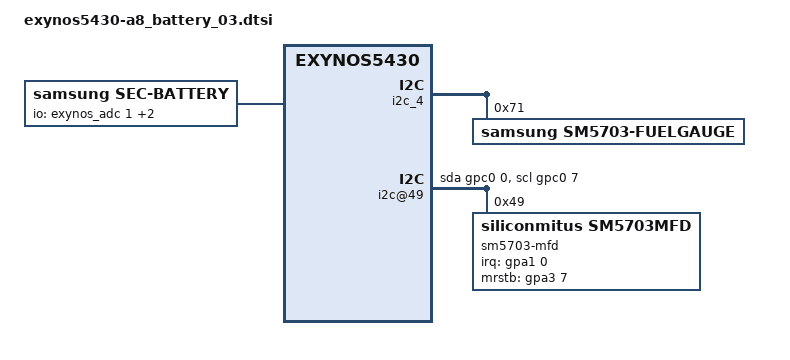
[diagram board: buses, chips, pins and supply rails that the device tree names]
/*
 * SAMSUNG UNIVERSAL5430 board device tree source
 *
 * Copyright (c) 2013 Samsung Electronics Co., Ltd.
 *		http://www.samsung.com
 *
 * This program is free software; you can redistribute it and/or modify
 * it under the terms of the GNU General Public License version 2 as
 * published by the Free Software Foundation.
*/

/ {
	pinctrl@10580000 {
		fuel_irq: fuel-irq {
			samsung,pins = "gpa1-5";
			samsung,pin-function = <0>;
			samsung,pin-pud = <0>;
			samsung,pin-drv = <0>;
		};
	};

	pinctrl@14CC0000 {
		chg_en: chg-en {
			samsung,pins = "gpf1-6";
			samsung,pin-function = <1>;
			samsung,pin-pud = <0>;
			samsung,pin-drv = <0>;
		};
		factory_discharging: factory-discharging {
			samsung,pins = "gpg2-2";
			samsung,pin-function = <1>;
			samsung,pin-pud = <0>;
		};
	};

	i2c_4: i2c@14E80000 {
		status = "okay";
		samsung,i2c-max-bus-freq = <400000>;
		sm5703-fuelgauge@71 {
			compatible = "samsung,sm5703-fuelgauge";
			reg = <0x71>;
			pinctrl-names = "default";
			pinctrl-0 = <&fuel_irq>;
			fuelgauge,fuel_int = <&gpa1 5 0>;
			fuelgauge,fuel_alert_soc = <2>;
			fuelgauge,capacity_max = <990>;
			fuelgauge,capacity_max_margin = <50>;
			fuelgauge,capacity_min = <0>;
			fuelgauge,capacity_calculation_type = <12>;
			fuelgauge,type_str = "SDI";
		};
	};

	battery_params {
		battery,id = <0>; /* -1 means auto, detected by F/G */
		battery0,battery_type = <4350>; /* 4200 4350 4400 */
		battery0,battery_table0 = <0x1400 0x1B8A 0x1CDE 0x1D73 0x1D87 0x1DDF 0x1E46 0x1E87 0x1ECB 0x1F2D 0x1FAE 0x1FFE 0x206A 0x2100 0x2241 0x2400>;
		battery0,battery_table1 = <0x1400 0x1B8A 0x1CDE 0x1D73 0x1D87 0x1DDF 0x1E46 0x1E87 0x1ECB 0x1F2D 0x1FAE 0x1FFE 0x206A 0x2100 0x2241 0x2400>;
		battery0,battery_table2 = <0x0000 0x0033 0x00C7 0x0164 0x029C 0x0470 0x077D 0x09EE 0x0BC2 0x0D97 0x0ECF 0x1007 0x1140 0x1314 0x165F 0x1671>;
		battery0,temp_std = <25>;
		battery0,temp_offset = <10>;
		battery0,temp_offset_cal = <0x01>;
		battery0,rce_value = <0x0749 0x0580 0x371>;
		battery0,dtcd_value = <0x1>;
		battery0,rs_value = <0x1ae 0x47a 0x3800 0x007a>; /*rs mix_factor max min*/
		battery0,vit_period = <0x3506>;
		battery0,mix_value = <0x0403 0x0004>; /*mix_rate init_blank*/
		battery0,topoff_soc = <0x0 0x5>; /*enable soc*/
		battery0,tem_poff = <3400 100 3320 100>;
		battery0,charge_offset_cal = <(-0x03)>;
		battery0,volt_cal = <0x809e>;
		battery0,curr_cal = <0x7c85>;
		battery0,v_max_table = <0x2241 0x2219 0x21F1 0x21C9 0x2165>;
		battery0,q_max_table = <0x165F 0x15F9 0x1593 0x152D 0x142D>;
	};

	battery {
		status = "okay";

		pinctrl-names = "default";
		pinctrl-0 = <&factory_discharging>;

		battery,factory_discharging = <&gpg2 2 0>;

		compatible = "samsung,sec-battery";
		battery,vendor = "SDI SDI";
		battery,charger_name = "sm5703-charger";
		battery,fuelgauge_name = "sm5703-fuelgauge";
		battery,technology = <2>; /* POWER_SUPPLY_TECHNOLOGY_LION */
		/* .temp_cohot = -1000; */
		/* .temp_cocold = -4325; */

		battery,chip_vendor = "LSI";
		battery,temp_adc_type = <1>; /* SEC_BATTERY_ADC_TYPE_AP */

		battery,polling_time = <10 30 30 30 3600>;

		battery,temp_table_adc = <531 621 642 662 683 700 733 759 787 813 839 857 886 916 944 973
					1006 1037 1066 1103 1135 1168 1202 1238 1275 1309 1346 1545 1761 1987 2215 2396
					2675 2882 2927 2968 3002 3038 3086 3119 3154 3195 3221 3251 3282 3322 3347
					3369 3396 3526>;


		battery,temp_table_data = <700 650 640 630 620 610 600 590 580 570 560 550
					540 530 520 510 500 490 480 470 460 450 440 430
					420 410 400 350 300 250 200 150 100 50 40 30 20 10 0
					(-10) (-20) (-30) (-40) (-50) (-60) (-70) (-80) (-90) (-100) (-150)>;


		battery,input_current_limit = <1750 500 500 1750 500 900 1000 500 500 1000 820 1750 1750 1750 1750 500 1300 300 700 1300 1500 300 80 500 1750 1400 1000 1750 1400 900 820 820 500 1000 820 820>;
		battery,fast_charging_current = <2100 0 500 2100 500 1200 1000 500 0 1200 1000 2100 2100 2100 2100 0 1300 300 700 1300 1500 300 80 0 2100 1200 1000 2100 1400 1200 1000 1000 0 0 1000 1000>;
		battery,full_check_current_1st = <300 0 0 300 300 300 300 300 300 0 300 300 300 300 300 0 0 300 300 300 300 300 300 0 300 300 300 300 0 300 300 300 0 300 300 300>;
		battery,full_check_current_2nd = <150 0 0 150 150 150 150 150 150 0 150 150 150 150 150 0 0 150 150 150 150 150 150 0 150 150 150 150 0 150 150 150 0 150 100 150>;

		battery,inbat_voltage = <1>;
		battery,inbat_voltage_table_adc = <2661 2620 2600 2586 2566 2536 2513 2486 2461 2431
						2403 2373 2360 2334 2301 2273 2245 2224 2200 2167 2137>;
		battery,inbat_voltage_table_data = <438 435 430 425 420 415 410 405 400 395
						390 385 380 375 370 365 360 355 350 345 340>;

		battery,adc_check_count = <5>;

		battery,cable_check_type = <4>; /* SEC_BATTERY_CABLE_CHECK_PSY */
		battery,cable_source_type = <1>; /* SEC_BATTERY_CABLE_SOURCE_EXTERNAL */
		battery,event_waiting_time = <600>;
		battery,polling_type = <1>; /* SEC_BATTERY_MONITOR_ALARM */
		battery,monitor_initial_count = <0>;

		battery,battery_check_type = <0>; /* SEC_BATTERY_CHECK_CHARGER */
		battery,check_count = <0>;
		battery,check_adc_max = <1440>;
		battery,check_adc_min = <0>;

		battery,ovp_uvlo_check_type = <3>; /* SEC_BATTERY_OVP_UVLO_CHGPOLLING */

		battery,thermal_source = <2>; /* SEC_BATTERY_THERMAL_SOURCE_ADC */

		battery,temp_check_type = <2>; /* SEC_BATTERY_TEMP_CHECK_TEMP */
		battery,temp_check_count = <1>;
		battery,temp_highlimit_threshold_event = <800>;
		battery,temp_highlimit_recovery_event = <750>;
		battery,temp_high_threshold_event = <500>;
		battery,temp_high_recovery_event = <450>;
		battery,temp_low_threshold_event = <0>;
		battery,temp_low_recovery_event = <50>;
		battery,temp_highlimit_threshold_normal = <800>;
		battery,temp_highlimit_recovery_normal = <750>;
		battery,temp_high_threshold_normal = <500>;
		battery,temp_high_recovery_normal = <450>;
		battery,temp_low_threshold_normal = <0>;
		battery,temp_low_recovery_normal = <50>;
		battery,temp_highlimit_threshold_lpm = <800>;
		battery,temp_highlimit_recovery_lpm = <750>;
		battery,temp_high_threshold_lpm = <500>;
		battery,temp_high_recovery_lpm = <450>;
		battery,temp_low_threshold_lpm = <0>;
		battery,temp_low_recovery_lpm = <50>;
		battery,full_check_type = <2>; /* SEC_BATTERY_FULLCHARGED_FG_CURRENT  */
		battery,full_check_type_2nd = <2>; /* SEC_BATTERY_FULLCHARGED_FG_CURRENT  */
		battery,full_check_count = <1>;
		battery,chg_gpio_full_check = <0>;
		battery,chg_polarity_full_check = <1>;

		/* SEC_BATTERY_FULL_CONDITION_SOC |
		   SEC_BATTERY_FULL_CONDITION_NOTIMEFULL |
		   SEC_BATTERY_FULL_CONDITION_VCELL */
		battery,full_condition_type = <13>;
		battery,full_condition_soc = <93>;
		battery,full_condition_vcell = <4250>;

		battery,recharge_check_count = <2>;
		battery,recharge_condition_type = <4>; /* SEC_BATTERY_RECHARGE_CONDITION_VCELL */
		battery,recharge_condition_soc = <98>;
		battery,recharge_condition_vcell = <4280>;
		
		battery,expired_time = <13320>;
		battery,recharginig_expired_time = <5400>;
		battery,standard_curr = <1750>;

		battery,charging_total_time = <21600>;
		battery,recharging_total_time = <5400>;
		battery,charging_reset_time = <0>;

		battery,always_enable;


		battery,chg_float_voltage = <4350>;

		battery,swelling_high_temp_block = <410>;
		battery,swelling_high_temp_recov = <390>;

		battery,swelling_low_temp_2step_mode = <1>;
		battery,swelling_low_temp_block_1st = <150>;
		battery,swelling_low_temp_recov_1st = <200>;
		battery,swelling_low_temp_block_2nd = <50>;
		battery,swelling_low_temp_recov_2nd = <100>;

		battery,swelling_low_temp_current = <700>;
		battery,swelling_low_temp_topoff = <150>;
		battery,swelling_high_temp_current = <1000>;
		battery,swelling_high_temp_topoff = <150>;
		battery,swelling_drop_float_voltage = <4150>;
		battery,swelling_high_rechg_voltage = <4000>;
		battery,swelling_low_rechg_voltage = <4000>;

		battery,siop_input_limit_current = <1200>;
		battery,siop_charging_limit_current = <1000>;

		io-channels = <&exynos_adc 1>, <&exynos_adc 7>, <&exynos_adc 3>;
		io-channel-names = "adc-temp", "in-bat-adc", "discharging-check-adc";
		#io-channel-cells = <1>;
		io-channel-ranges;

		/* cycle, chg_float_voltage, recharge_condition_vcell, full_condition_vcell, full_condition_soc */
		battery,age_data = <0 4350 4280 4250 93	/*4.35*/
				200 4330 4260 4230 91	/*4.33*/
				250 4310 4240 4210 89	/*4.31*/
				300 4290 4220 4190 87	/*4.29*/
				1000 4240 4170 4140 83	/*4.24*/
				>;
	};

	i2c@49 {
		compatible = "i2c-gpio";
		gpios = <&gpc0 0 0 &gpc0 7 0>;
		i2c-gpio,delay-us = <2>;
		#address-cells = <1>;
		#size-cells = <0>;
		status = "ok";
		sm5703-mfd@49 {
			compatible = "siliconmitus,sm5703mfd";
			reg = <0x49>;
			pinctrl-names = "default";
			pinctrl-0 = <&chg_en &if_pmic_irq>;
			sm5703,irq-gpio = <&gpa1 0 0>;
			sm5703,mrstb-gpio = <&gpa3 7 0>;

			sm5703_fled {
				compatible = "siliconmitus,sm5703-fled";
				enable = <1 1>;
				flash_current = <1200>;
				movie_current = <150>;
				sm5703,led1-gpio = <&gpc0 1 0>;
				sm5703,led2-gpio = <&gpc0 2 0>;
				pinctrl-names = "fled_default","fled_sleep";
				pinctrl-0 = <&fled_flash_active>;
				pinctrl-1 = <&fled_flash_sleep>;
			};
		};
	};

	charger {
		status = "disable";
		compatible = "siliconmitus,sm5703-charger";

		/* Charger */
		battery,charger_name = "sm5703-charger";
		battery,chg_gpio_en = <&gpf1 6 0>;
		battery,chg_polarity_en = <0>;
		battery,chg_gpio_status = <0>;
		battery,chg_polarity_status = <0>;
		battery,chg_float_voltage = <4350>;
		chg_autostop = <1>;
		chg_autoset = <1>;
		chg_aiclen = <1>;
		chg_aiclth = <4300>;
		fg_vol_val = <4350>;
		fg_soc_val = <95>;
		fg_curr_avr_val = <150>;
	};
};
